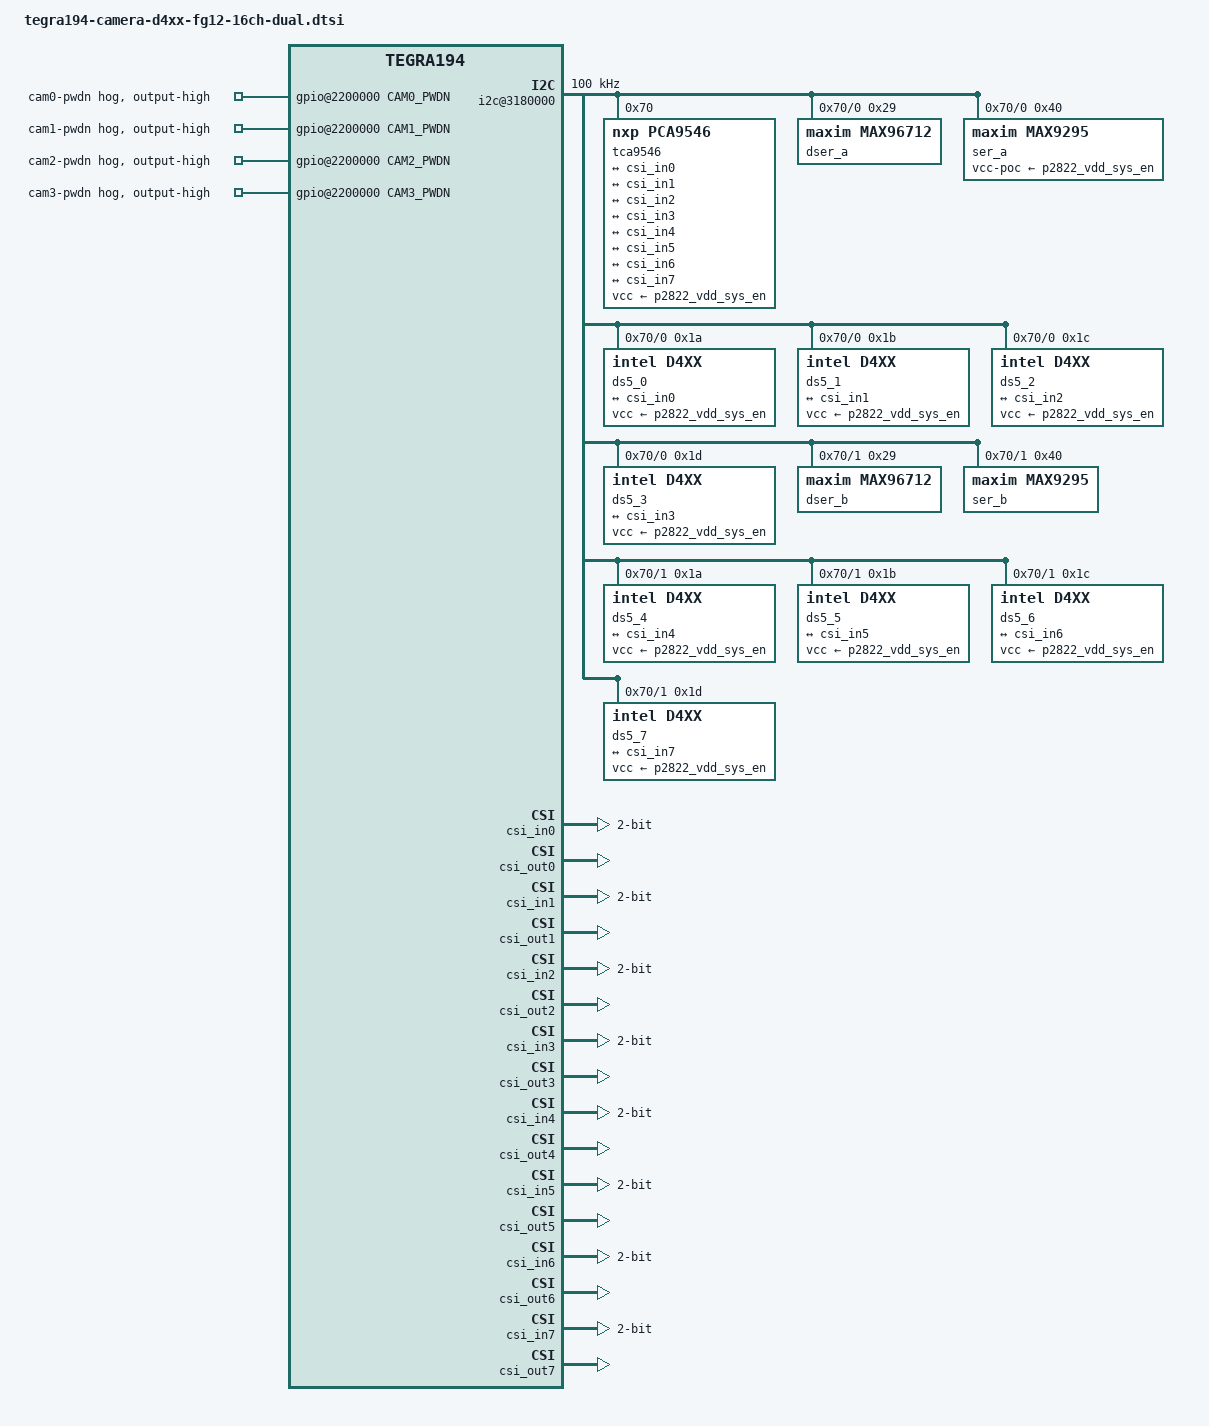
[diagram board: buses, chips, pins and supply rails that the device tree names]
#include "dt-bindings/clock/tegra194-clock.h"

#define CAMERA_I2C_MUX_BUS(x) (0x1E + x)

#define CAM0_PWDN TEGRA194_MAIN_GPIO(H, 6)
#define CAM1_PWDN TEGRA194_MAIN_GPIO(H, 3)
#define CAM2_PWDN TEGRA194_MAIN_GPIO(T, 5)
#define CAM3_PWDN TEGRA194_MAIN_GPIO(T, 6)

/ {
	tegra-capture-vi {
		num-channels = <8>;

		ports {
			#address-cells = <0x1>;
			#size-cells = <0x0>;

			port@0 {
				reg = <0>;
				status = "ok";

				vi_in0: endpoint {
					status = "ok";
					port-index = <0>;
					bus-width = <2>;
					vc-id = <0>;
					remote-endpoint = <&csi_out0>;
				};
			};
			port@1 {
				reg = <1>;
				status = "ok";

				vi_in1: endpoint {
					status = "ok";
					vc-id = <1>;
					port-index = <0>;
					bus-width = <2>;
					remote-endpoint = <&csi_out1>;
				};
			};
			port@2 {
				reg = <2>;
				status = "ok";

				vi_in2: endpoint {
					status = "ok";
					port-index = <0>;
					bus-width = <2>;
					vc-id = <2>;
					remote-endpoint = <&csi_out2>;
				};
			};
			port@3 {
				reg = <3>;
				status = "ok";

				vi_in3: endpoint {
					status = "ok";
					port-index = <0>;
					bus-width = <2>;
					vc-id = <3>;
					remote-endpoint = <&csi_out3>;
				};
			};
			port@4 {
				reg = <4>;
				status = "ok";

				vi_in4: endpoint {
					status = "ok";
					port-index = <2>;
					bus-width = <2>;
					vc-id = <0>;
					remote-endpoint = <&csi_out4>;
				};
			};
			port@5 {
				reg = <5>;
				status = "ok";

				vi_in5: endpoint {
					status = "ok";
					vc-id = <1>;
					port-index = <2>;
					bus-width = <2>;
					remote-endpoint = <&csi_out5>;
				};
			};
			port@6 {
				reg = <6>;
				status = "ok";

				vi_in6: endpoint {
					status = "ok";
					port-index = <2>;
					bus-width = <2>;
					vc-id = <2>;
					remote-endpoint = <&csi_out6>;
				};
			};
			port@7 {
				reg = <7>;
				status = "ok";

				vi_in7: endpoint {
					status = "ok";
					port-index = <2>;
					bus-width = <2>;
					vc-id = <3>;
					remote-endpoint = <&csi_out7>;
				};
			};
		};
	};

	gpio@2200000 {
		cam0-pwdn {
			gpio-hog;
			output-high;
			status = "okay";
			gpios = <CAM0_PWDN GPIO_ACTIVE_HIGH>;
			label = "cam0-pwdn";
		};
		cam1-pwdn {
			gpio-hog;
			output-high;
			status = "okay";
			gpios = <CAM1_PWDN GPIO_ACTIVE_HIGH>;
			label = "cam1-pwdn";
		};
		cam2-pwdn {
			gpio-hog;
			output-high;
			status = "okay";
			gpios = <CAM2_PWDN GPIO_ACTIVE_HIGH>;
			label = "cam2-pwdn";
		};
		cam3-pwdn {
			gpio-hog;
			output-high;
			status = "okay";
			gpios = <CAM3_PWDN GPIO_ACTIVE_HIGH>;
			label = "cam3-pwdn";
		};
	};

	i2c@3180000 {
		status = "ok";
		clock-frequency = <100000>;
		tca9546@70 {
			status = "ok";
			reg = <0x70>;
			compatible = "nxp,pca9546";
			#address-cells = <1>;
			#size-cells = <0>;
			skip_mux_detect = "yes";
			vcc-supply = <&p2822_vdd_sys_en>;
			/*vcc-pullup-supply = <&battery_reg>;*/
			force_bus_start = <CAMERA_I2C_MUX_BUS(0)>;
			vcc_lp = "vcc";
			i2c@0 {
				reg = <0x0>;
				#address-cells = <0x1>;
				i2c-mux,deselect-on-exit;
				#size-cells = <0x0>;

				dser_a: max96712@29 {
					status = "ok";
					reg = <0x29>;
					compatible = "maxim,max96712";
					csi-mode = "2x4";
					max-src = <1>;
					channel = "a";
				};

				ser_a: max9295_a@40 {
					compatible = "maxim,max9295";
					reg = <0x40>;
					vcc-poc-supply = <&p2822_vdd_sys_en>;
					maxim,gmsl-dser-device = <&dser_a>;
				};

				ds5_0: ds5@1a {
					status = "ok";
					def-addr = <0x10>;
					reg = <0x1a>;
					compatible = "intel,d4xx";
					vcc-supply = <&p2822_vdd_sys_en>;
					cam-type = "Depth";
					maxim,gmsl-ser-device = <&ser_a>;
					maxim,gmsl-dser-device = <&dser_a>;
					ports {
						#address-cells = <1>;
						#size-cells = <0>;

						port@0 {
							reg = <0>;
							ds5_0_out: endpoint {
								port-index = <0>;
								bus-width = <2>;
								remote-endpoint = <&csi_in0>;
								vc-id = <0>;
							};
						};
					};
					mode0 {
						pixel_t = "grey_y16";
						num_lanes = "2";
						csi_pixel_bit_depth = "16";
						active_w = "128";
						active_h = "0";
						tegra_sinterface = "serial_a";
						mclk_khz = "24000";
						pix_clk_hz = "74250000";
						line_length = "1280"; /* 2200 */
						embedded_metadata_height = "1";
					};
					gmsl-link {
						src-csi-port = "b";
						dst-csi-port = "a";
						serdes-csi-link = "a";
						csi-mode = "1x4";
						st-vc = <0>;
						vc-id = <0>;
						num-lanes = <2>;
					};
				};

				ds5_1: ds5@1b {
					status = "ok";
					def-addr = <0x10>;
					reg = <0x1b>;
					override_reg = <0x1a>;
					compatible = "intel,d4xx";
					vcc-supply = <&p2822_vdd_sys_en>;
					cam-type = "RGB";
					maxim,gmsl-ser-device = <&ser_a>;
					maxim,gmsl-dser-device = <&dser_a>;
					ports {
						#address-cells = <1>;
						#size-cells = <0>;

						port@0 {
							reg = <0>;
							ds5_1_out: endpoint {
								port-index = <1>;
								bus-width = <2>;
								remote-endpoint = <&csi_in1>;
								vc-id = <1>;
							};
						};
					};
					mode0 {
						pixel_t = "grey_y16";
						num_lanes = "2";
						csi_pixel_bit_depth = "16";
						active_w = "128";
						active_h = "0";
						tegra_sinterface = "serial_e";
						mclk_khz = "24000";
						pix_clk_hz = "74250000";
						line_length = "1280"; /* 2200 */
						embedded_metadata_height = "1";
					};
					gmsl-link {
						src-csi-port = "b";
						dst-csi-port = "a";
						serdes-csi-link = "a";
						csi-mode = "1x4";
						st-vc = <0>;
						vc-id = <1>;
						num-lanes = <2>;
					};
				};

				ds5_2: ds5@1c {
					status = "ok";
					def-addr = <0x10>;
					reg = <0x1c>;
					override_reg = <0x1a>;
					compatible = "intel,d4xx";
					vcc-supply = <&p2822_vdd_sys_en>;
							cam-type = "Y8";
					maxim,gmsl-ser-device = <&ser_a>;
					maxim,gmsl-dser-device = <&dser_a>;
					ports {
						#address-cells = <1>;
						#size-cells = <0>;

						port@0 {
							reg = <0>;
							ds5_2_out: endpoint {
								port-index = <2>;
								bus-width = <2>;
								remote-endpoint = <&csi_in2>;
								vc-id = <2>;
							};
						};
					};
					/* mode0: Y8, mode1: depth D16 */
					mode0 {
						pixel_t = "grey_y16";
						num_lanes = "2";
						csi_pixel_bit_depth = "16";
						active_w = "128";
						active_h = "0";
						tegra_sinterface = "serial_b";
						mclk_khz = "24000";
						pix_clk_hz = "74250000";
						line_length = "1280"; /* 2200 */
						embedded_metadata_height = "1";
					};
					gmsl-link {
						src-csi-port = "b";
						dst-csi-port = "a";
						serdes-csi-link = "a";
						csi-mode = "1x4";
						st-vc = <0>;
						vc-id = <2>;
						num-lanes = <2>;
					};
				};

				ds5_3: ds5@1d {
					status = "ok";
					def-addr = <0x10>;
					reg = <0x1d>;
					override_reg = <0x1a>;
					compatible = "intel,d4xx";
					vcc-supply = <&p2822_vdd_sys_en>;
							cam-type = "IMU";
					maxim,gmsl-ser-device = <&ser_a>;
					maxim,gmsl-dser-device = <&dser_a>;
					ports {
						#address-cells = <1>;
						#size-cells = <0>;

						port@0 {
							reg = <0>;
							ds5_3_out: endpoint {
								port-index = <3>;
								bus-width = <2>;
								remote-endpoint = <&csi_in3>;
								vc-id = <3>;
							};
						};
					};
					mode0 {
						pixel_t = "grey_y16";
						num_lanes = "2";
						csi_pixel_bit_depth = "16";
						active_w = "128";
						active_h = "0";
						tegra_sinterface = "serial_b";
						mclk_khz = "24000";
						pix_clk_hz = "74250000";
						line_length = "1280"; /* 2200 */
						embedded_metadata_height = "0";
					};
					gmsl-link {
						src-csi-port = "b";
						dst-csi-port = "a";
						serdes-csi-link = "a";
						csi-mode = "1x4";
						st-vc = <0>;
						vc-id = <3>;
						num-lanes = <2>;
					};
				};
			};
			i2c@1 {
				reg = <0x1>;
				#address-cells = <0x1>;
				i2c-mux,deselect-on-exit;
				#size-cells = <0x0>;

				dser_b: max96712@29 {
					status = "ok";
					reg = <0x29>;
					compatible = "maxim,max96712";
					csi-mode = "2x4";
					max-src = <1>;
					channel = "b";
				};

				ser_b: max9295_a@40 {
					compatible = "maxim,max9295";
					reg = <0x40>;
					maxim,gmsl-dser-device = <&dser_b>;
				};

				ds5_4: ds5@1a {
					status = "ok";
					def-addr = <0x10>;
					reg = <0x1a>;
					compatible = "intel,d4xx";
					vcc-supply = <&p2822_vdd_sys_en>;
					cam-type = "Depth";
					maxim,gmsl-ser-device = <&ser_b>;
					maxim,gmsl-dser-device = <&dser_b>;
					ports {
						#address-cells = <1>;
						#size-cells = <0>;

						port@0 {
							reg = <0>;
						ds5_4_out: endpoint {
							port-index = <2>;
							bus-width = <2>;
							remote-endpoint = <&csi_in4>;
							vc-id = <0>;
						};
					};
				};
					mode0 {
						pixel_t = "grey_y16";
						num_lanes = "2";
						csi_pixel_bit_depth = "16";
						active_w = "128";
						active_h = "0";
						tegra_sinterface = "serial_c";
						mclk_khz = "24000";
						pix_clk_hz = "74250000";
						line_length = "1280"; /* 2200 */
						embedded_metadata_height = "1";
					};
					gmsl-link {
						src-csi-port = "b";
						dst-csi-port = "c";
						serdes-csi-link = "a";
						csi-mode = "1x4";
						st-vc = <0>;
						vc-id = <0>;
						num-lanes = <2>;
					};
				};

				ds5_5: ds5@1b {
					status = "ok";
					def-addr = <0x10>;
					reg = <0x1b>;
					override_reg = <0x1a>;
					compatible = "intel,d4xx";
					vcc-supply = <&p2822_vdd_sys_en>;
					cam-type = "RGB";
					maxim,gmsl-ser-device = <&ser_b>;
					maxim,gmsl-dser-device = <&dser_b>;
					ports {
						#address-cells = <1>;
						#size-cells = <0>;

						port@0 {
							reg = <0>;
						ds5_5_out: endpoint {
							port-index = <2>;
							bus-width = <2>;
							remote-endpoint = <&csi_in5>;
							vc-id = <1>;
						};
					};
				};
					mode0 {
						pixel_t = "grey_y16";
						num_lanes = "2";
						csi_pixel_bit_depth = "16";
						active_w = "128";
						active_h = "0";
						tegra_sinterface = "serial_c";
						mclk_khz = "24000";
						pix_clk_hz = "74250000";
						line_length = "1280"; /* 2200 */
						embedded_metadata_height = "1";
					};
					gmsl-link {
						src-csi-port = "b";
						dst-csi-port = "c";
						serdes-csi-link = "a";
						csi-mode = "1x4";
						st-vc = <0>;
						vc-id = <1>;
						num-lanes = <2>;
					};
				};

				ds5_6: ds5@1c {
					status = "ok";
					def-addr = <0x10>;
					reg = <0x1c>;
					override_reg = <0x1a>;
					compatible = "intel,d4xx";
					vcc-supply = <&p2822_vdd_sys_en>;
							cam-type = "Y8";
					maxim,gmsl-ser-device = <&ser_b>;
					maxim,gmsl-dser-device = <&dser_b>;
					ports {
						#address-cells = <1>;
						#size-cells = <0>;

						port@0 {
							reg = <0>;
						ds5_6_out: endpoint {
							port-index = <2>;
							bus-width = <2>;
							remote-endpoint = <&csi_in6>;
							vc-id = <2>;
						};
					};
				};
					/* mode0: Y8, mode1: depth D16 */
					mode0 {
						pixel_t = "grey_y16";
						num_lanes = "2";
						csi_pixel_bit_depth = "16";
						active_w = "128";
						active_h = "0";
						tegra_sinterface = "serial_c";
						mclk_khz = "24000";
						pix_clk_hz = "74250000";
						line_length = "1280"; /* 2200 */
						embedded_metadata_height = "1";
					};
					gmsl-link {
						src-csi-port = "b";
						dst-csi-port = "c";
						serdes-csi-link = "a";
						csi-mode = "1x4";
						st-vc = <0>;
						vc-id = <2>;
						num-lanes = <2>;
					};
				};

				ds5_7: ds5@1d {
					status = "ok";
					def-addr = <0x10>;
					reg = <0x1d>;
					override_reg = <0x1a>;
					compatible = "intel,d4xx";
					vcc-supply = <&p2822_vdd_sys_en>;
							cam-type = "IMU";
					maxim,gmsl-ser-device = <&ser_b>;
					maxim,gmsl-dser-device = <&dser_b>;
					ports {
						#address-cells = <1>;
						#size-cells = <0>;

						port@0 {
							reg = <0>;
						ds5_7_out: endpoint {
							port-index = <2>;
							bus-width = <2>;
							remote-endpoint = <&csi_in7>;
							vc-id = <3>;
						};
					};
				};
					mode0 {
						pixel_t = "grey_y16";
						num_lanes = "2";
						csi_pixel_bit_depth = "16";
						active_w = "128";
						active_h = "0";
						tegra_sinterface = "serial_c";
						mclk_khz = "24000";
						pix_clk_hz = "74250000";
						line_length = "1280"; /* 2200 */
						embedded_metadata_height = "0";
					};
					gmsl-link {
						src-csi-port = "b";
						dst-csi-port = "c";
						serdes-csi-link = "a";
						csi-mode = "1x4";
						st-vc = <0>;
						vc-id = <3>;
						num-lanes = <2>;
					};
				};
			};
		};
	};

	host1x@13e00000 {
		nvcsi@15a00000 {
			#address-cells = <0x1>;
			#size-cells = <0x0>;

			num-channels = <8>;

			channel@0 {
				reg = <0x0>;
				status = "ok";

				ports {
					#address-cells = <0x1>;
					#size-cells = <0x0>;

					port@0 {
						reg = <0>;
						status = "ok";

						csi_in0: endpoint@0 {
							status = "ok";
							port-index = <0>;
							bus-width = <2>;
							remote-endpoint = <&ds5_0_out>;
						};
					};
					port@1 {
						reg = <1>;
						status = "ok";
						csi_out0: endpoint@1 {
							status = "ok";
							remote-endpoint = <&vi_in0>;
						};
					};

				};
			};
			channel@1 {
				reg = <0x1>;
				status = "ok";

				ports {
					#address-cells = <0x1>;
					#size-cells = <0x0>;

					port@0 {
						reg = <0>;
						status = "ok";

						csi_in1: endpoint@2 {
							status = "ok";
							port-index = <0>;
							bus-width = <2>;
							remote-endpoint = <&ds5_1_out>;
						};
					};
					port@1 {
						reg = <1>;
						status = "ok";
						csi_out1: endpoint@3 {
							status = "ok";
							remote-endpoint = <&vi_in1>;
						};
					};

				};
			};
			channel@2 {
				reg = <0x2>;
				status = "ok";

				ports {
					#address-cells = <0x1>;
					#size-cells = <0x0>;

					port@0 {
						reg = <0>;
						status = "ok";

						csi_in2: endpoint@4 {
							status = "ok";
							port-index = <0>;
							bus-width = <2>;
							remote-endpoint = <&ds5_2_out>;
						};
					};
					port@1 {
						reg = <1>;
						status = "ok";
						csi_out2: endpoint@5 {
							status = "ok";
							remote-endpoint = <&vi_in2>;
						};
					};
				};
			};
			channel@3 {
				reg = <0x3>;
				status = "ok";

				ports {
					#address-cells = <0x1>;
					#size-cells = <0x0>;

					port@0 {
						reg = <0>;
						status = "ok";

						csi_in3: endpoint@6 {
							status = "ok";
							port-index = <0>;
							bus-width = <2>;
							remote-endpoint = <&ds5_3_out>;
						};
					};
					port@1 {
						reg = <1>;
						status = "ok";
						csi_out3: endpoint@7 {
							status = "ok";
							remote-endpoint = <&vi_in3>;
						};
					};
				};
			};
			channel@4 {
				reg = <0x4>;
				status = "ok";

				ports {
					#address-cells = <0x1>;
					#size-cells = <0x0>;

					port@0 {
						reg = <0>;
						status = "ok";

					csi_in4: endpoint@8 {
						status = "ok";
						port-index = <2>;
						bus-width = <2>;
						remote-endpoint = <&ds5_4_out>;
						};
					};
					port@1 {
						reg = <1>;
						status = "ok";
						csi_out4: endpoint@9 {
							status = "ok";
							remote-endpoint = <&vi_in4>;
						};
					};

				};
			};
			channel@5 {
				reg = <0x5>;
				status = "ok";

				ports {
					#address-cells = <0x1>;
					#size-cells = <0x0>;

					port@0 {
						reg = <0>;
						status = "ok";

						csi_in5: endpoint@10 {
						status = "ok";
						port-index = <2>;
						bus-width = <2>;
						remote-endpoint = <&ds5_5_out>;
						};
					};
					port@1 {
						reg = <1>;
						status = "ok";
						csi_out5: endpoint@11 {
							status = "ok";
							remote-endpoint = <&vi_in5>;
						};
					};

				};
			};
			channel@6 {
				reg = <0x6>;
				status = "ok";

				ports {
					#address-cells = <0x1>;
					#size-cells = <0x0>;

					port@0 {
						reg = <0>;
						status = "ok";

						csi_in6: endpoint@12 {
						status = "ok";
						port-index = <2>;
						bus-width = <2>;
						remote-endpoint = <&ds5_6_out>;
						};
					};
					port@1 {
						reg = <1>;
						status = "ok";
						csi_out6: endpoint@13 {
							status = "ok";
							remote-endpoint = <&vi_in6>;
						};
					};
				};
			};
			channel@7 {
				reg = <0x7>;
				status = "ok";

				ports {
					#address-cells = <0x1>;
					#size-cells = <0x0>;

					port@0 {
						reg = <0>;
						status = "ok";

						csi_in7: endpoint@14 {
						status = "ok";
						port-index = <2>;
						bus-width = <2>;
						remote-endpoint = <&ds5_7_out>;
						};
					};
					port@1 {
						reg = <1>;
						status = "ok";
						csi_out7: endpoint@15 {
							status = "ok";
							remote-endpoint = <&vi_in7>;
						};
					};
				};
			};
		};
	};
};
